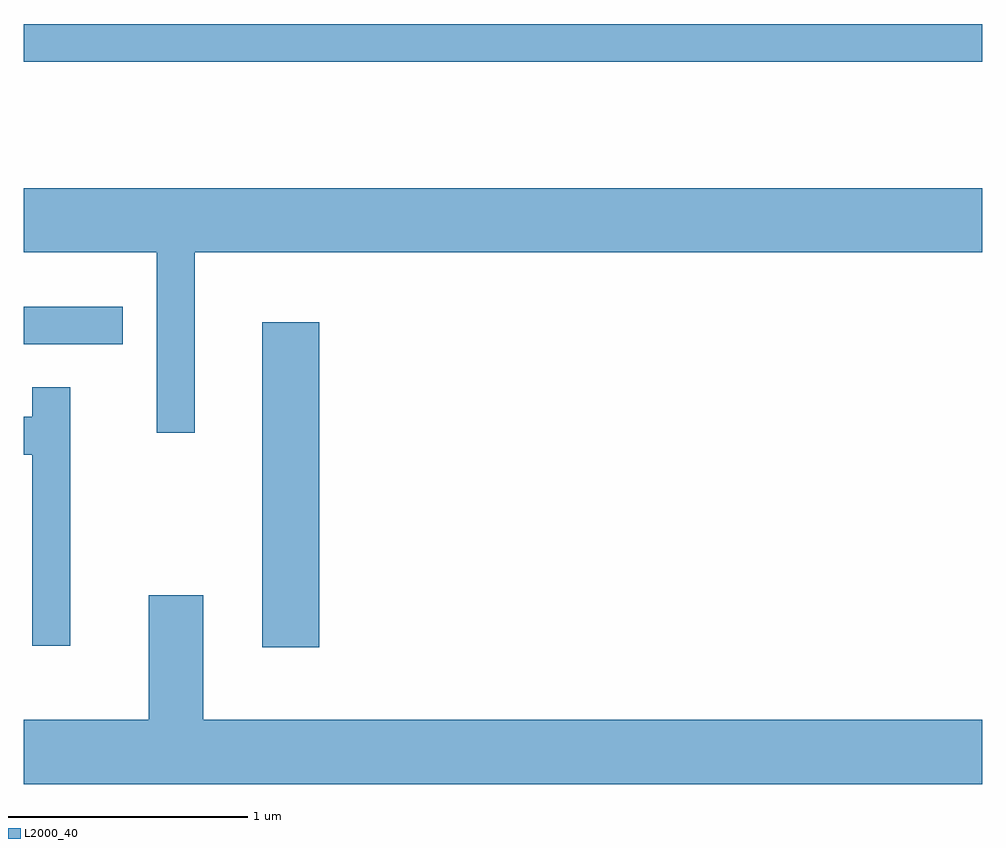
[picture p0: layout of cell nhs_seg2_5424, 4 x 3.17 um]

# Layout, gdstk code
import gdstk
lib = gdstk.Library(unit=1e-6, precision=1e-09)
def R(c, l, rs):  # rectangles x0, y0, x1, y1
    for r in rs: c.add(gdstk.rectangle(r[:2], r[2:], *l))
def P(c, l, *ps):  # polygons
    for p in ps: c.add(gdstk.Polygon(p, *l))
L2000_40 = (2000, 40)

nhs_seg2_5424 = lib.new_cell('nhs_seg2_5424')
R(nhs_seg2_5424, L2000_40, [(346.606,1006.706,346.844,1008.064), (345.611,1007.971,346.023,1008.129), (345.611,1009.151,349.611,1009.309)])
P(nhs_seg2_5424, L2000_40, [(345.611,1008.356),(346.166,1008.356),(346.166,1007.603),(346.324,1007.603),(346.324,1008.356),(349.611,1008.356),(349.611,1008.624),(345.611,1008.624)],
  [(345.804,1007.793),(345.646,1007.793),(345.646,1007.669),(345.611,1007.669),(345.611,1007.511),(345.646,1007.511),(345.646,1006.713),(345.804,1006.713)],
  [(349.611,1006.404),(346.359,1006.404),(346.359,1006.924),(346.131,1006.924),(346.131,1006.404),(345.611,1006.404),(345.611,1006.136),(349.611,1006.136)])

lib.write_gds('nhs_seg2_5424.gds')
